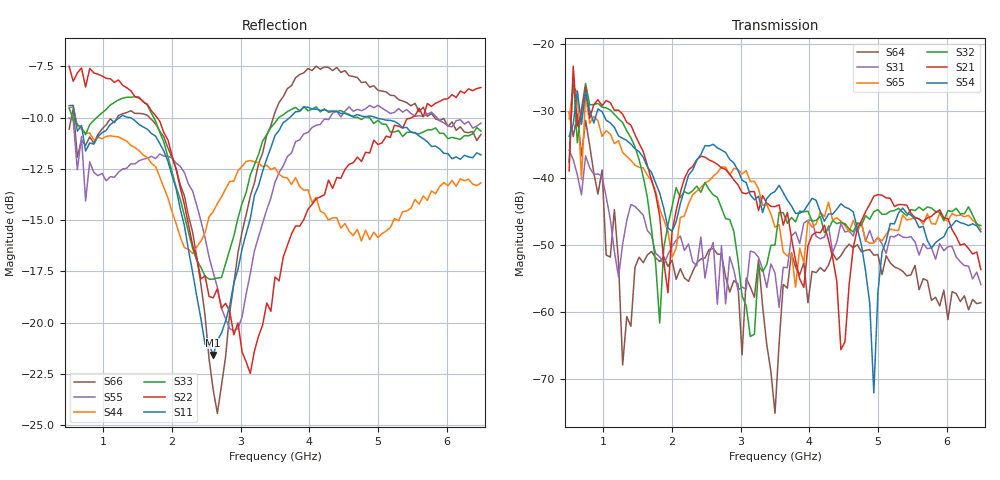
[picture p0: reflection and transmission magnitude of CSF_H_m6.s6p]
!Keysight Technologies,M9804A,MY58100912,A.14.10.03
!Date: Thursday, April 27, 2023 10:28:33
!Correction: S11(C  6-Port  )
!S12(C  6-Port  )
!S13(C  6-Port  )
!S14(C  6-Port  )
!S15(C  6-Port  )
!S16(C  6-Port  )
!S21(C  6-Port  )
!S22(C  6-Port  )
!S23(C  6-Port  )
!S24(C  6-Port  )
!S25(C  6-Port  )
!S26(C  6-Port  )
!S31(C  6-Port  )
!S32(C  6-Port  )
!S33(C  6-Port  )
!S34(C  6-Port  )
!S35(C  6-Port  )
!S36(C  6-Port  )
!S41(C  6-Port  )
!S42(C  6-Port  )
!S43(C  6-Port  )
!S44(C  6-Port  )
!S45(C  6-Port  )
!S46(C  6-Port  )
!S51(C  6-Port  )
!S52(C  6-Port  )
!S53(C  6-Port  )
!S54(C  6-Port  )
!S55(C  6-Port  )
!S56(C  6-Port  )
!S61(C  6-Port  )
!S62(C  6-Port  )
!S63(C  6-Port  )
!S64(C  6-Port  )
!S65(C  6-Port  )
!S66(C  6-Port  )
!S6P File: Measurement: :
# Hz S  RI  R 50
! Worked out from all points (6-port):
!   101 points, 500 MHz to 6.5 GHz, reference 50 ohm
!   strongest paths, dB at 500 MHz, 2 GHz, 3.5 GHz, 5 GHz, 6.5 GHz:
!     S54: -33.8, -48.0, -42.0, -57.0, -48.1
!     S21: -39.0, -48.0, -44.3, -42.5, -53.7
!     S32: -37.7, -44.3, -50.0, -44.8, -47.1
!     S65: -31.2, -51.9, -47.4, -48.9, -47.7
!     S31: -35.9, -50.2, -54.2, -48.9, -56.0
!     S64: -30.2, -52.3, -75.2, -51.5, -58.7
!   lowest |S11| = -21.6 dB at 2.6 GHz (marker M1), VSWR 1.18, Z = 42.6 + j2.01 ohm
!   |S11| at or under -10 dB: 588.4 MHz to 1.235 GHz (646.8 MHz wide, 70.9 % of centre); 1.389 GHz to 3.714 GHz (2.325 GHz wide, 91.1 % of centre); 4.971 GHz to end of sweep
